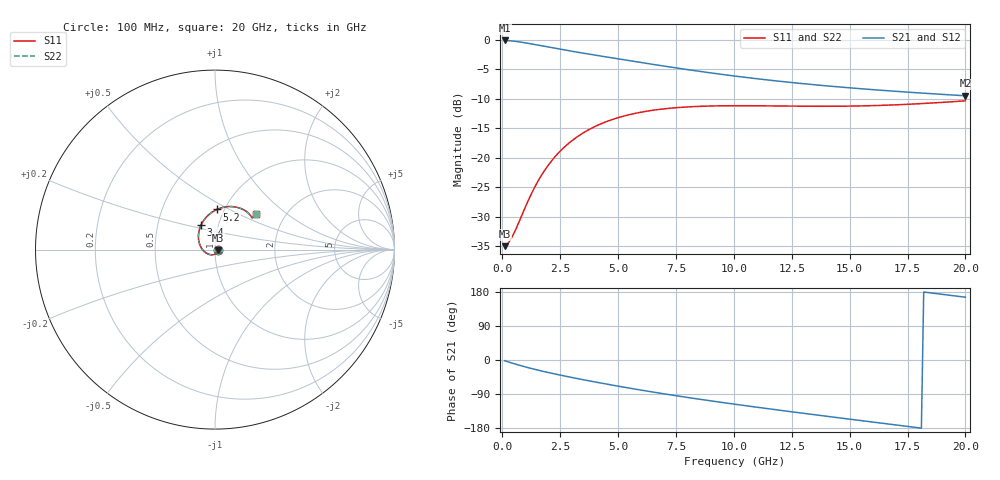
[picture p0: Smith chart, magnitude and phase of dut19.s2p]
! Touchstone file exported from HFSS 2024.1.0
!  File:  C:/UserFiles/LocalFiles/RDL_TSV_Batchsim/temp_RDL_TSV_19_1779399478.aedt
!  Generated:  05:50:52 AM May 22, 2026
!  Design:  RDL_TSV
!  Project:  temp_RDL_TSV_19_1779399478
!  Setup:  Setup1
!  Solution:  Sweep
! Variables:
!  dtsv = 14.71um
!  hbump = 3um
!  htsv = 78.07um
!  ldown = 401.34um
!  lrdl = 341.16um
!  p = 40
!  p1 = 56.25um
!  rhole = 10um
!  subl = 2568.66um
!  t = 450um
!  tdown = 2.07um
!  trdl = 2.05um
!  viad = 10um
!  wdown = 27.91um
!  wrdl = 24.04um
!  xbump = 18um
# GHz S MA R 50.000000
! Terminal data exported
! Port[1] = TM1_1_T1
! Port[2] = TM1_4_T1
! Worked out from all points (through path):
!   200 points, 100 MHz to 20 GHz, reference 50 ohm
!   highest |S21| = -0.16 dB at 100 MHz (marker M1); lowest = -9.5 dB at 20 GHz (marker M2)
!   group delay of S21, straight-line fit = 25.3 ps
!   lowest |S11| = -35.0 dB at 100 MHz (marker M3), VSWR 1.04, Z = 51.8 - j0.484 ohm
!   |S11| at or under -10 dB: start of sweep to end of sweep
!   |S22| runs from -35.0 to -10.4 dB; largest |S21 - S12| = 1.5e-14
!   S11 on the Smith chart (normalised r, x): 100 MHz: 1.04, -0.01; 3.4 GHz: 0.83, +0.23; 5.2 GHz: 0.92, +0.43; 20 GHz: 1.43, +0.62
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0.1  0.01785 -15.2  0.9817 -2.0  0.9817 -2.0  0.01785 -15.2
! Gamma 0 0 0 0
! Port Impedance 50 0 50 0
0.2  0.01848 -30.3  0.9796 -3.9  0.9796 -3.9  0.01848 -30.3
0.4  0.02098 -60.1  0.9726 -7.7  0.9726 -7.7  0.02098 -60.1
0.6  0.02519 -87.7  0.9626 -11.4  0.9626 -11.4  0.02519 -87.7
1  0.03842 -132.4  0.9367 -18.3  0.9367 -18.3  0.03841 -132.4
1.4  0.05634 -164.0  0.9068 -24.7  0.9068 -24.7  0.0563 -164.0
1.9  0.08197 168.1  0.8692 -31.9  0.8692 -31.9  0.08187 168.1
2.2  0.09788 155.2  0.8477 -35.9  0.8477 -35.9  0.09775 155.3
2.6  0.1189 141.1  0.8207 -41.1  0.8207 -41.1  0.1187 141.1
3.4  0.1579 119.3  0.7717 -50.9  0.7717 -50.9  0.1577 119.3
3.5  0.1624 117.0  0.7659 -52.1  0.7659 -52.1  0.1622 117.1
4.3  0.195 101.3  0.722 -61.3  0.722 -61.3  0.1946 101.3
5.2  0.2238 87.4  0.6763 -71.2  0.6763 -71.2  0.2234 87.4
6.8  0.2565 69.3  0.6035 -87.5  0.6035 -87.5  0.2561 69.3
8.4  0.2714 57.1  0.542 -102.5  0.542 -102.5  0.2709 57.1
10.1  0.2755 48.6  0.489 -117.2  0.489 -117.2  0.2749 48.5
11.7  0.2742 43.7  0.4493 -130.3  0.4493 -130.3  0.2736 43.7
13.4  0.2724 41.1  0.4156 -143.8  0.4156 -143.8  0.2718 41.1
15  0.2732 40.4  0.3901 -156.1  0.3901 -156.1  0.2726 40.3
16.7  0.2787 40.5  0.3679 -169.2  0.3679 -169.2  0.278 40.5
18.3  0.2884 40.8  0.3503 178.6  0.3503 178.6  0.2878 40.8
20  0.3027 40.8  0.3342 165.7  0.3342 165.7  0.302 40.8
